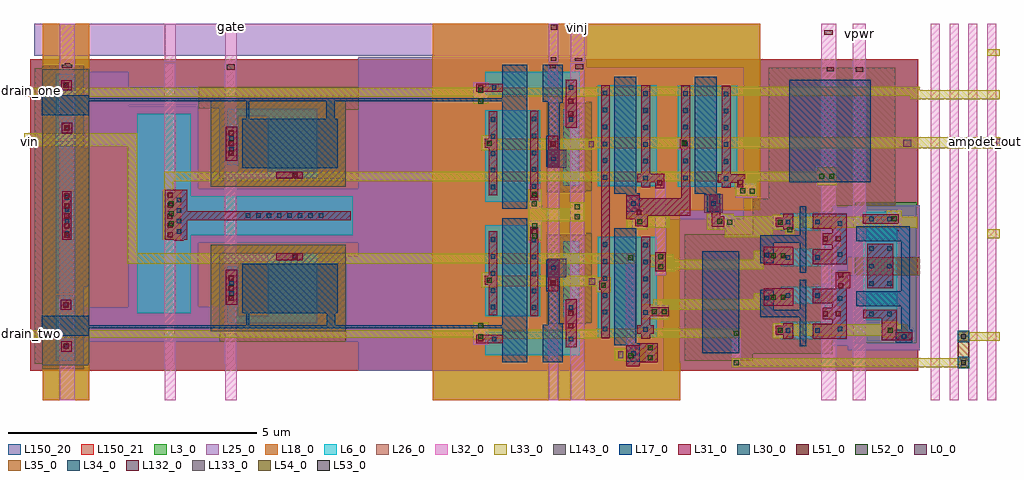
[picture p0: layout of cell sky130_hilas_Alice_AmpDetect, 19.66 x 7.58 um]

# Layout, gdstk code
import gdstk
lib = gdstk.Library(unit=1e-6, precision=1e-09)
def R(c, l, rs):  # rectangles x0, y0, x1, y1
    for r in rs: c.add(gdstk.rectangle(r[:2], r[2:], *l))
def A(c, l, x, y, w, h, nx, ny, dx, dy):  # array of equal rectangles
    R(c, l, [(x+i*dx, y+j*dy, x+i*dx+w, y+j*dy+h) for i in range(nx) for j in range(ny)])
L0_0 = (0, 0)
L3_0 = (3, 0)
L6_0 = (6, 0)
L17_0 = (17, 0)
L18_0 = (18, 0)
L25_0 = (25, 0)
L26_0 = (26, 0)
L30_0 = (30, 0)
L31_0 = (31, 0)
L32_0 = (32, 0)
L33_0 = (33, 0)
L34_0 = (34, 0)
L35_0 = (35, 0)
L51_0 = (51, 0)
L52_0 = (52, 0)
L53_0 = (53, 0)
L54_0 = (54, 0)
L132_0 = (132, 0)
L133_0 = (133, 0)
L143_0 = (143, 0)
L150_20 = (150, 20)
L150_21 = (150, 21)

m1_po_cdns_676223594169 = lib.new_cell('M1_PO_CDNS_676223594169')
R(m1_po_cdns_676223594169, L17_0, [(-0.085,-0.085,0.085,0.085)])
R(m1_po_cdns_676223594169, L30_0, [(-0.045,-0.045,0.045,0.045)])
R(m1_po_cdns_676223594169, L31_0, [(-0.085,-0.085,0.085,0.085)])

sky130_hilas_poly2li = lib.new_cell('sky130_hilas_poly2li')
R(sky130_hilas_poly2li, L0_0, [(-0.14,-0.16,0.23,0.21)])
R(sky130_hilas_poly2li, L17_0, [(-0.09,-0.14,0.18,0.19)])
R(sky130_hilas_poly2li, L31_0, [(-0.04,-0.14,0.13,0.19)])
sky130_hilas_poly2li.add(gdstk.Reference(m1_po_cdns_676223594169, (0.045,0.025)))

m2_m1_cdns_6762235941610 = lib.new_cell('M2_M1_CDNS_6762235941610')
R(m2_m1_cdns_6762235941610, L31_0, [(-0.09,-0.09,0.09,0.09)])
R(m2_m1_cdns_6762235941610, L32_0, [(-0.115,-0.115,0.115,0.115)])
R(m2_m1_cdns_6762235941610, L51_0, [(-0.05,-0.05,0.05,0.05)])

m3_m2_cdns_6762235941611 = lib.new_cell('M3_M2_CDNS_6762235941611')
R(m3_m2_cdns_6762235941611, L32_0, [(-0.115,-0.115,0.115,0.115)])
R(m3_m2_cdns_6762235941611, L33_0, [(-0.09,-0.09,0.09,0.09)])
R(m3_m2_cdns_6762235941611, L52_0, [(-0.05,-0.05,0.05,0.05)])

sky130_hilas_li2m2 = lib.new_cell('sky130_hilas_li2m2')
R(sky130_hilas_li2m2, L32_0, [(-0.11,-0.125,0.19,0.175)])
R(sky130_hilas_li2m2, L33_0, [(-0.11,-0.125,0.19,0.175)])
sky130_hilas_li2m2.add(gdstk.Reference(m2_m1_cdns_6762235941610, (0.04,0.02)))
sky130_hilas_li2m2.add(gdstk.Reference(m3_m2_cdns_6762235941611, (0.04,0.02)))

sky130_hilas_ptransistor = lib.new_cell('sky130_hilas_pTransistorVert01')
R(sky130_hilas_ptransistor, L3_0, [(-3.765,-4.44,-1.63,-1.45)])
R(sky130_hilas_ptransistor, L6_0, [(-3.29,-3.96,-2.1,-1.93), (-3.245,-3.925,-2.165,-1.975)])
R(sky130_hilas_ptransistor, L17_0, [(-2.95,-4.11,-2.51,-1.75)])
R(sky130_hilas_ptransistor, L25_0, [(-3.42,-4.62,-1.97,-1.57)])
A(sky130_hilas_ptransistor, L30_0, -2.37, -3.84, 0.09, 0.09, 1, 6, 0, 0.34)
A(sky130_hilas_ptransistor, L30_0, -3.18, -3.83, 0.09, 0.09, 1, 6, 0, 0.34)
R(sky130_hilas_ptransistor, L31_0, [(-2.41,-3.98,-2.23,-1.93), (-3.22,-3.97,-3.04,-1.92), (-2.49,-3.88,-2.16,-3.71), (-2.41,-3.71,-2.24,-1.93)])

m3_m2_cdns_676223594167 = lib.new_cell('M3_M2_CDNS_676223594167')
R(m3_m2_cdns_676223594167, L32_0, [(-0.035,-0.075,0.175,0.195)])
R(m3_m2_cdns_676223594167, L33_0, [(-0.065,-0.045,0.205,0.165)])
R(m3_m2_cdns_676223594167, L52_0, [(0.02,0.01,0.12,0.11)])

m2_m1_cdns_676223594163 = lib.new_cell('M2_M1_CDNS_676223594163')
R(m2_m1_cdns_676223594163, L31_0, [(-0.09,-0.09,0.09,0.09)])
R(m2_m1_cdns_676223594163, L32_0, [(-0.09,-0.09,0.09,0.09)])
R(m2_m1_cdns_676223594163, L51_0, [(-0.05,-0.05,0.05,0.05)])

m2_m1_cdns_676223594168 = lib.new_cell('M2_M1_CDNS_676223594168')
R(m2_m1_cdns_676223594168, L31_0, [(-0.045,-0.025,0.075,0.155)])
R(m2_m1_cdns_676223594168, L32_0, [(-0.065,-0.045,0.095,0.175)])
R(m2_m1_cdns_676223594168, L51_0, [(-0.035,0.015,0.065,0.115)])

c_sky130_hilas_ptransistor = lib.new_cell('sky130_hilas_pTransistorSingle')
R(c_sky130_hilas_ptransistor, L17_0, [(2.25,-1.04,2.48,-1), (2.48,-1.04,2.52,-1)])
R(c_sky130_hilas_ptransistor, L18_0, [(1.195,-1.34,3.33,1.65)])
R(c_sky130_hilas_ptransistor, L31_0, [(2.35,-1.665,2.405,-1.46), (2.405,-1.485,2.585,-1.46), (2.35,-1.46,2.52,-1.33), (2.47,-1.33,2.52,-1.2), (2.79,-0.78,2.87,-0.7), (2.79,-0.7,3.01,-0.61), (3.01,-0.7,3.02,-0.67), (3.01,-0.67,3.02,-0.61)])
R(c_sky130_hilas_ptransistor, L32_0, [(2.83,-1.09,3.04,-0.88), (3.04,-1.09,3.075,-1.075), (1.675,-0.115,1.92,0.105)])
R(c_sky130_hilas_ptransistor, L33_0, [(2.25,-1.73,2.35,-1.7), (2.65,-1.73,2.68,-1.7), (2.25,-1.7,2.68,-1.69), (2.25,-1.69,3.12,-1.46), (2.25,-1.46,2.35,-1.43), (3.06,-1.045,3.2,-0.855), (3.105,-0.855,3.2,-0.835)])
c_sky130_hilas_ptransistor.add(gdstk.Reference(sky130_hilas_poly2li, (2.34,-1.23)))
c_sky130_hilas_ptransistor.add(gdstk.Reference(sky130_hilas_li2m2, (2.475,-1.58)))
c_sky130_hilas_ptransistor.add(gdstk.Reference(sky130_hilas_ptransistor, (4.96,3.1)))
c_sky130_hilas_ptransistor.add(gdstk.Reference(m3_m2_cdns_676223594167, (2.9,-1)))
c_sky130_hilas_ptransistor.add(gdstk.Reference(m2_m1_cdns_676223594163, (1.8,0)))
c_sky130_hilas_ptransistor.add(gdstk.Reference(m2_m1_cdns_676223594168, (2.91,-0.85)))

sky130_hilas_nfet03 = lib.new_cell('sky130_hilas_nFET03')
R(sky130_hilas_nfet03, L6_0, [(-0.31,-0.06,0.58,0.29), (0.1,0,0.4,0.2)])
R(sky130_hilas_nfet03, L17_0, [(0.07,-0.2,0.2,0.43), (0.1,0.1,0.2,0.2)])
R(sky130_hilas_nfet03, L26_0, [(-0.44,-0.36,0.725,0.58)])
R(sky130_hilas_nfet03, L30_0, [(-0.205,0.07,-0.115,0.16), (0.385,0.07,0.475,0.16)])
R(sky130_hilas_nfet03, L31_0, [(-0.26,-0.03,-0.06,0.28), (0.33,-0.02,0.53,0.28), (-0.2,0.1,-0.1,0.2), (0.4,0.1,0.5,0.2)])

m2_m1_cdns_6762235941612 = lib.new_cell('M2_M1_CDNS_6762235941612')
R(m2_m1_cdns_6762235941612, L31_0, [(-0.19,-0.09,0.19,0.09)])
R(m2_m1_cdns_6762235941612, L32_0, [(-0.19,-0.09,0.19,0.09)])
R(m2_m1_cdns_6762235941612, L51_0, [(-0.15,-0.05,-0.05,0.05), (0.05,-0.05,0.15,0.05)])

m3_m2_cdns_676223594166 = lib.new_cell('M3_M2_CDNS_676223594166')
R(m3_m2_cdns_676223594166, L32_0, [(-0.19,-0.09,0.19,0.09)])
R(m3_m2_cdns_676223594166, L33_0, [(-0.19,-0.09,0.19,0.09)])
R(m3_m2_cdns_676223594166, L52_0, [(-0.15,-0.05,-0.05,0.05), (0.05,-0.05,0.15,0.05)])

sky130_hilas_nmirror03 = lib.new_cell('sky130_hilas_nMirror03')
R(sky130_hilas_nmirror03, L6_0, [(0.565,0.33,1.605,0.34), (1.6,0.33,1.89,1.36), (1.45,0.34,1.6,1.35), (0.565,1.35,1.605,1.36)])
R(sky130_hilas_nmirror03, L17_0, [(0.945,0.19,1.075,0.21), (0.945,0.33,1.075,0.34), (0.15,0.36,0.42,0.69), (0.15,0.69,0.42,0.77), (0.15,0.77,1.075,0.92), (0.15,0.77,0.895,0.82), (0.945,1.35,1.075,1.36), (0.945,1.48,1.075,1.5)])
R(sky130_hilas_nmirror03, L25_0, [(1.6,0.2,1.91,1.49)])
R(sky130_hilas_nmirror03, L26_0, [(0,0.04,0.435,1.65), (0.435,0.205,1.6,0.465), (1.325,0.465,1.6,0.815), (0.435,0.815,1.6,0.875), (1.325,0.875,1.6,1.225), (0.435,1.225,1.6,1.485)])
R(sky130_hilas_nmirror03, L30_0, [(0.24,0.48,0.33,0.57), (1.715,0.49,1.805,0.58), (1.715,1.11,1.805,1.2)])
R(sky130_hilas_nmirror03, L31_0, [(0.225,0.33,0.815,0.69), (1.4,0.34,1.89,0.64), (0.225,0.36,0.445,0.69), (1.6,0.38,1.89,1.35), (1.41,0.73,1.6,0.96), (1.4,1.05,1.89,1.35)])
R(sky130_hilas_nmirror03, L32_0, [(0.225,0.33,0.815,0.69), (1.39,0.7,1.69,1), (1.39,0.7,1.77,1)])
R(sky130_hilas_nmirror03, L33_0, [(0.225,0.33,0.815,0.69), (0.02,0.435,0.39,0.61)])
R(sky130_hilas_nmirror03, L51_0, [(1.41,0.795,1.51,0.895), (1.67,0.795,1.77,0.895)])
sky130_hilas_nmirror03.add(gdstk.Reference(sky130_hilas_li2m2, (0.51,1.16)))
sky130_hilas_nmirror03.add(gdstk.Reference(sky130_hilas_nfet03, (0.875,0.36)))
sky130_hilas_nmirror03.add(gdstk.Reference(sky130_hilas_nfet03, (0.875,1.07)))
sky130_hilas_nmirror03.add(gdstk.Reference(m2_m1_cdns_6762235941612, (0.51,0.51)))
sky130_hilas_nmirror03.add(gdstk.Reference(m3_m2_cdns_676223594166, (0.51,0.51)))

sky130_hilas_pfetmirror0 = lib.new_cell('sky130_hilas_pFETmirror02')
R(sky130_hilas_pfetmirror0, L3_0, [(0.14,0.14,1.39,2.98)])
R(sky130_hilas_pfetmirror0, L6_0, [(0.32,0.61,1,1.49), (0.32,1.49,1,1.9), (0.32,1.9,1,2.79)])
R(sky130_hilas_pfetmirror0, L17_0, [(0.97,0.15,1.3,0.42), (1.08,0.37,1.25,0.89), (0.18,0.89,1.25,1.19), (1.08,1.19,1.25,2.2), (0.18,2.2,1.25,2.5)])
R(sky130_hilas_pfetmirror0, L25_0, [(0,0,1.45,1.51), (0,1.88,1.45,2.92)])
R(sky130_hilas_pfetmirror0, L26_0, [(0.18,1.51,1.45,1.88)])
R(sky130_hilas_pfetmirror0, L30_0, [(1.09,0.24,1.18,0.33), (0.435,0.69,0.525,0.78), (0.795,0.69,0.885,0.78), (0.435,1.3,0.525,1.39), (0.795,1.3,0.885,1.39), (0.435,1.65,0.525,1.74), (0.795,1.65,0.885,1.74), (0.435,2.005,0.525,2.095), (0.795,2.005,0.885,2.095), (0.435,2.605,0.525,2.695), (0.795,2.605,0.885,2.695)])
R(sky130_hilas_pfetmirror0, L31_0, [(0.69,0.2,0.99,0.37), (0.97,0.2,1.3,0.37), (0.69,0.37,0.99,0.65), (0.32,0.65,0.99,0.82), (0.395,1.25,0.925,2.145), (0.31,2.55,1.015,2.74)])

sky130_hilas_singletacor = lib.new_cell('sky130_hilas_SingleTACore01')
R(sky130_hilas_singletacor, L25_0, [(1.635,0.345,1.71,1.245), (1.22,1.245,1.71,1.46), (1.22,1.245,1.71,1.465), (1.53,1.465,1.71,2.745), (1.22,2.75,1.53,2.91), (1.53,2.78,2.98,2.91)])
R(sky130_hilas_singletacor, L26_0, [(0.055,1.245,1.22,1.465)])
R(sky130_hilas_singletacor, L31_0, [(1.675,1.37,1.96,1.69)])
R(sky130_hilas_singletacor, L32_0, [(1.38,0,1.68,5.72), (2.01,0.01,2.28,5.72), (1.655,1.37,1.885,1.69)])
R(sky130_hilas_singletacor, L33_0, [(0.4,0.42,3.11,0.65), (0.4,2.59,3.31,2.81)])
R(sky130_hilas_singletacor, L51_0, [(1.72,1.37,1.82,1.47), (1.72,1.59,1.82,1.69)])
sky130_hilas_singletacor.add(gdstk.Reference(sky130_hilas_li2m2, (2.73,0.51)))
sky130_hilas_singletacor.add(gdstk.Reference(sky130_hilas_li2m2, (2.81,2.755)))
sky130_hilas_singletacor.add(gdstk.Reference(sky130_hilas_nmirror03, (0,1.52)))
sky130_hilas_singletacor.add(gdstk.Reference(sky130_hilas_nmirror03, (0,1.705), x_reflection=True))
sky130_hilas_singletacor.add(gdstk.Reference(sky130_hilas_pfetmirror0, (1.91,0.12)))

m3_m2_cdns_6762235941613 = lib.new_cell('M3_M2_CDNS_6762235941613')
R(m3_m2_cdns_6762235941613, L32_0, [(-0.09,-0.19,0.09,0.19)])
R(m3_m2_cdns_6762235941613, L33_0, [(-0.09,-0.19,0.09,0.19)])
R(m3_m2_cdns_6762235941613, L52_0, [(-0.05,-0.15,0.05,-0.05), (-0.05,0.05,0.05,0.15)])

m2_m1_cdns_676223594164 = lib.new_cell('M2_M1_CDNS_676223594164')
R(m2_m1_cdns_676223594164, L31_0, [(-0.09,-0.19,0.09,0.19)])
R(m2_m1_cdns_676223594164, L32_0, [(-0.09,-0.19,0.09,0.19)])
R(m2_m1_cdns_676223594164, L51_0, [(-0.05,-0.15,0.05,-0.05), (-0.05,0.05,0.05,0.15)])

c_sky130_hilas_ptransistor_ = lib.new_cell('sky130_hilas_pTransistorPair_v2')
R(c_sky130_hilas_ptransistor_, L3_0, [(1.475,2.88,1.925,3.11), (0,3.17,2.135,3.24)])
R(c_sky130_hilas_ptransistor_, L17_0, [(1.055,0.175,1.325,0.545), (1.075,0.5,1.285,0.51), (1.055,3.2,1.325,3.57)])
R(c_sky130_hilas_ptransistor_, L18_0, [(0,0.18,2.135,6.22)])
R(c_sky130_hilas_ptransistor_, L30_0, [(1.15,0.295,1.24,0.385), (1.15,3.32,1.24,3.41)])
R(c_sky130_hilas_ptransistor_, L31_0, [(1.055,0.085,1.325,0.215), (1.325,0.165,1.685,0.505), (1.055,0.175,1.325,0.505), (1.295,0.26,1.46,0.435), (1.325,0.505,1.685,0.545), (1.355,1.09,1.635,1.265), (1.635,2,1.845,2.38), (0.545,2.65,0.725,3.71), (1.055,3.045,1.325,3.24), (1.055,3.2,1.325,3.53), (1.635,3.67,1.815,3.9), (1.595,3.79,1.675,3.87), (1.595,3.87,1.815,3.96)])
R(c_sky130_hilas_ptransistor_, L32_0, [(1.525,1.045,1.905,1.31), (1.635,1.92,1.845,3.69), (1.635,2.03,1.845,2.35), (1.635,3.64,1.845,3.93)])
R(c_sky130_hilas_ptransistor_, L33_0, [(1.625,0.165,1.685,0.2), (0.815,0.2,1.685,0.44), (1.355,1.03,1.905,1.33), (1.635,2,1.845,2.38), (1.535,2.08,2.005,2.33), (1.635,2.08,1.87,2.33), (1.055,2.88,1.925,3.11)])
R(c_sky130_hilas_ptransistor_, L51_0, [(1.68,3.735,1.78,3.835)])
c_sky130_hilas_ptransistor_.add(gdstk.Reference(sky130_hilas_li2m2, (0.555,1.7)))
c_sky130_hilas_ptransistor_.add(gdstk.Reference(sky130_hilas_li2m2, (1.285,2.975)))
c_sky130_hilas_ptransistor_.add(gdstk.Reference(sky130_hilas_ptransistor, (3.765,7.67)))
c_sky130_hilas_ptransistor_.add(gdstk.Reference(sky130_hilas_ptransistor, (3.765,4.62)))
c_sky130_hilas_ptransistor_.add(gdstk.Reference(m3_m2_cdns_6762235941613, (1.535,0.355)))
c_sky130_hilas_ptransistor_.add(gdstk.Reference(m3_m2_cdns_6762235941613, (1.75,2.19)))
c_sky130_hilas_ptransistor_.add(gdstk.Reference(m2_m1_cdns_676223594164, (1.535,0.355)))
c_sky130_hilas_ptransistor_.add(gdstk.Reference(m2_m1_cdns_676223594164, (1.75,2.19)))
c_sky130_hilas_ptransistor_.add(gdstk.Reference(m2_m1_cdns_6762235941612, (1.715,1.18)))
c_sky130_hilas_ptransistor_.add(gdstk.Reference(m3_m2_cdns_676223594166, (1.715,1.18)))

sky130_hilas_tuncap01 = lib.new_cell('sky130_hilas_TunCap01')
R(sky130_hilas_tuncap01, L3_0, [(0,0,0.94,1.645)])
R(sky130_hilas_tuncap01, L6_0, [(0.27,0.16,0.67,1.485)])
R(sky130_hilas_tuncap01, L18_0, [(0,0,0.94,1.645)])
R(sky130_hilas_tuncap01, L26_0, [(0,0,0.835,1.645)])

m1_od_cdns_6762235941620 = lib.new_cell('M1_OD_CDNS_6762235941620')
R(m1_od_cdns_6762235941620, L6_0, [(-0.075,-0.18,0.075,0.18)])
R(m1_od_cdns_6762235941620, L30_0, [(-0.045,-0.15,0.045,-0.06), (-0.045,0.06,0.045,0.15)])
R(m1_od_cdns_6762235941620, L31_0, [(-0.085,-0.19,0.085,0.19)])

m2_m1_cdns_6762235941621 = lib.new_cell('M2_M1_CDNS_6762235941621')
R(m2_m1_cdns_6762235941621, L31_0, [(-0.09,-0.29,0.09,0.29)])
R(m2_m1_cdns_6762235941621, L32_0, [(-0.09,-0.29,0.09,0.29)])
A(m2_m1_cdns_6762235941621, L51_0, -0.05, -0.25, 0.1, 0.1, 1, 3, 0, 0.2)

sky130_hilas_fgvaractorc = lib.new_cell('sky130_hilas_FGVaractorCapacitor02')
R(sky130_hilas_fgvaractorc, L3_0, [(0,0,2.72,1.735)])
R(sky130_hilas_fgvaractorc, L6_0, [(1.15,0.18,2.15,1.425), (0.33,0.43,0.55,1.425), (0.33,1.425,2.15,1.575)])
R(sky130_hilas_fgvaractorc, L17_0, [(0.64,0.375,2.56,1.375)])
R(sky130_hilas_fgvaractorc, L18_0, [(0,0,2.72,1.735)])
R(sky130_hilas_fgvaractorc, L26_0, [(0.17,0.16,2.72,1.695)])
R(sky130_hilas_fgvaractorc, L30_0, [(1.65,0.195,1.74,0.285)])
R(sky130_hilas_fgvaractorc, L31_0, [(1.32,0.17,1.85,0.305), (0.3,0.52,0.53,1.21)])
R(sky130_hilas_fgvaractorc, L32_0, [(0.28,0.17,0.54,0.49), (0.285,0.17,1.85,0.305), (0.28,0.47,0.54,1.26)])
R(sky130_hilas_fgvaractorc, L51_0, [(1.645,0.19,1.745,0.29)])
R(sky130_hilas_fgvaractorc, L143_0, [(0,0,2.72,1.735)])
sky130_hilas_fgvaractorc.add(gdstk.Reference(m1_od_cdns_6762235941620, (0.42,0.87)))
sky130_hilas_fgvaractorc.add(gdstk.Reference(m2_m1_cdns_6762235941621, (0.41,0.875)))

sky130_hilas_horiztransc = lib.new_cell('sky130_hilas_horizTransCell01')
R(sky130_hilas_horiztransc, L0_0, [(3.815,1.86,4.185,2.23)])
R(sky130_hilas_horiztransc, L3_0, [(1.485,-0.02,4.785,3.24)])
R(sky130_hilas_horiztransc, L6_0, [(2.555,0.29,4.455,0.76), (4.12,1.05,4.45,2.585), (2.555,1.07,3.665,2.91)])
R(sky130_hilas_horiztransc, L17_0, [(2.895,0.15,3.395,0.88), (3.715,0.15,4.115,0.9), (0.355,0.83,3.395,0.89), (2.895,0.855,3.395,3.05), (3.825,0.9,4.115,0.92), (3.825,0.92,4.055,1.58), (3.785,1.58,4.055,1.87), (3.785,1.87,4.055,2.21)])
R(sky130_hilas_horiztransc, L25_0, [(0,0,4.585,0.92), (0,0.92,3.795,3.2)])
R(sky130_hilas_horiztransc, L26_0, [(3.795,0.92,4.58,2.715)])
A(sky130_hilas_horiztransc, L30_0, 3.495, 1.2, 0.09, 0.09, 1, 5, 0, 0.34)
A(sky130_hilas_horiztransc, L30_0, 2.665, 1.21, 0.09, 0.09, 1, 5, 0, 0.34)
R(sky130_hilas_horiztransc, L30_0, [(2.69,0.57,2.78,0.66), (4.24,0.57,4.33,0.66), (4.24,1.205,4.33,1.295), (3.885,2,3.975,2.09)])
R(sky130_hilas_horiztransc, L31_0, [(4.175,0.45,4.395,0.8), (2.375,0.53,2.905,0.7), (4.175,0.8,4.395,0.83), (4.175,0.83,4.395,1.41), (3.455,1.08,3.625,2.69), (2.625,1.09,2.795,2.78), (4.175,1.41,4.395,1.42), (3.825,1.58,4.025,1.59), (3.825,1.59,4.025,1.88), (3.815,1.88,4.055,2.21), (3.455,2.69,3.625,2.88)])
R(sky130_hilas_horiztransc, L32_0, [(3.825,0.13,4.015,1.58), (4.265,0.13,4.435,0.77), (2.315,0.5,2.615,0.94), (4.155,0.77,4.435,1.32), (4.155,1.32,4.435,1.37), (4.265,1.37,4.435,1.46), (4.265,1.46,4.435,3.15), (3.825,1.58,4.055,1.61), (3.805,1.61,4.055,1.88), (3.815,1.88,4.055,1.89), (3.815,1.89,4.045,2.13), (3.815,2.13,4.045,3.15), (3.425,2.56,3.665,2.94)])
R(sky130_hilas_horiztransc, L33_0, [(2.315,0.61,2.615,0.62), (2.315,0.62,4.785,0.8), (2.315,0.8,2.615,0.94)])
R(sky130_hilas_horiztransc, L51_0, [(2.415,0.565,2.515,0.665), (4.23,0.835,4.33,0.935), (4.23,1.085,4.33,1.185), (3.875,1.695,3.975,1.795), (3.495,2.735,3.595,2.835)])
R(sky130_hilas_horiztransc, L52_0, [(2.415,0.615,2.515,0.715), (2.415,0.835,2.515,0.935)])

m1_od_cdns_6762235941614 = lib.new_cell('M1_OD_CDNS_6762235941614')
R(m1_od_cdns_6762235941614, L6_0, [(-0.81,-0.075,0.81,0.075)])
A(m1_od_cdns_6762235941614, L30_0, -0.78, -0.045, 0.09, 0.09, 8, 1, 0.21, 0)
R(m1_od_cdns_6762235941614, L31_0, [(-0.82,-0.085,0.82,0.085)])

m1_od_cdns_6762235941615 = lib.new_cell('M1_OD_CDNS_6762235941615')
R(m1_od_cdns_6762235941615, L6_0, [(-0.075,-0.39,0.075,0.39)])
A(m1_od_cdns_6762235941615, L30_0, -0.045, -0.36, 0.09, 0.09, 1, 4, 0, 0.21)
R(m1_od_cdns_6762235941615, L31_0, [(-0.085,-0.4,0.085,0.4)])

m2_m1_cdns_6762235941616 = lib.new_cell('M2_M1_CDNS_6762235941616')
R(m2_m1_cdns_6762235941616, L31_0, [(-0.105,-0.105,0.105,0.105)])
R(m2_m1_cdns_6762235941616, L32_0, [(-0.09,-0.09,0.09,0.09)])
R(m2_m1_cdns_6762235941616, L51_0, [(-0.05,-0.05,0.05,0.05)])

m1_od_cdns_6762235941617 = lib.new_cell('M1_OD_CDNS_6762235941617')
R(m1_od_cdns_6762235941617, L6_0, [(-0.075,-0.075,0.075,0.075)])
R(m1_od_cdns_6762235941617, L30_0, [(-0.045,-0.045,0.045,0.045)])
R(m1_od_cdns_6762235941617, L31_0, [(-0.105,-0.105,0.105,0.105)])

m2_m1_cdns_6762235941618 = lib.new_cell('M2_M1_CDNS_6762235941618')
R(m2_m1_cdns_6762235941618, L31_0, [(-0.09,-0.49,0.09,0.49)])
R(m2_m1_cdns_6762235941618, L32_0, [(-0.09,-0.49,0.09,0.49)])
A(m2_m1_cdns_6762235941618, L51_0, -0.05, -0.45, 0.1, 0.1, 1, 5, 0, 0.2)

m1_od_cdns_6762235941619 = lib.new_cell('M1_OD_CDNS_6762235941619')
R(m1_od_cdns_6762235941619, L6_0, [(-0.075,-0.45,0.075,0.45)])
A(m1_od_cdns_6762235941619, L30_0, -0.045, -0.405, 0.09, 0.09, 1, 4, 0, 0.24)
R(m1_od_cdns_6762235941619, L31_0, [(-0.09,-0.49,0.09,0.49)])

sky130_hilas_fgbias2x1ce = lib.new_cell('sky130_hilas_FGBias2x1cell_v2')
R(sky130_hilas_fgbias2x1ce, L3_0, [(0.365,1.68,1.305,4.49)])
R(sky130_hilas_fgbias2x1ce, L6_0, [(9.33,1.135,10.33,2.89), (2.28,1.15,3.36,2.99), (0.635,1.555,1.035,4.62), (2.28,2.725,6.62,3.51), (2.28,3.24,3.36,5.17)])
R(sky130_hilas_fgbias2x1ce, L17_0, [(0.355,0.7,1.305,1.1), (1.305,0.85,7.09,0.91), (4.48,0.91,4.54,1.385), (6.1,0.91,6.27,1.385), (4.48,4.845,4.54,5.42), (6.085,4.845,6.255,5.42), (0.355,5.145,1.305,5.545), (1.305,5.42,7.09,5.48)])
R(sky130_hilas_fgbias2x1ce, L18_0, [(8.22,0,11.52,6.33), (0.365,1.68,1.305,4.495)])
R(sky130_hilas_fgbias2x1ce, L25_0, [(2.095,1,3.51,2.575), (2.095,2.575,6.77,3.66), (9.165,3.055,10.525,3.275), (2.095,3.66,3.51,5.32)])
R(sky130_hilas_fgbias2x1ce, L26_0, [(0.365,1.685,1.305,4.49)])
R(sky130_hilas_fgbias2x1ce, L31_0, [(4.06,1.99,4.29,2.03), (3.03,2.61,3.22,3.03), (2.84,2.99,3.03,3.22), (3.03,3.03,6.58,3.21), (3.03,3.21,3.22,3.62)])
R(sky130_hilas_fgbias2x1ce, L32_0, [(0.71,0.14,1.01,6.19), (2.82,0.14,3.05,6.19), (4.04,0.14,4.27,6.19), (11,0.14,11.28,6.19), (10.15,2.7,10.43,3.02), (2.82,2.96,3.05,3.25), (11,3.02,11.28,3.34), (10.15,3.3,10.43,3.62)])
R(sky130_hilas_fgbias2x1ce, L33_0, [(0,0.66,9.09,0.76), (0,0.76,9.21,0.81), (9.05,0.81,9.21,0.83), (9.48,1.7,11.52,1.91), (10.15,2.625,10.43,2.73), (10.15,2.73,10.43,3.01), (10.15,3.01,11,3.265), (11,3.01,11.28,3.39), (11,3.05,11.28,3.33), (10.15,3.265,10.43,3.655), (10.15,3.33,10.43,3.61), (9.49,4.45,11.52,4.67), (0,5.51,9.11,5.69)])
R(sky130_hilas_fgbias2x1ce, L51_0, [(2.885,3.055,2.985,3.155)])
R(sky130_hilas_fgbias2x1ce, L132_0, [(4.08,6.06,4.245,6.16), (11.1,6.07,11.26,6.17), (10.59,6.09,10.705,6.16), (0.76,6.095,0.975,6.16)])
R(sky130_hilas_fgbias2x1ce, L133_0, [(0.01,0.675,0.095,0.79), (11.37,1.73,11.5,1.86), (11.375,4.495,11.475,4.62), (0.025,5.535,0.135,5.665)])
R(sky130_hilas_fgbias2x1ce, L143_0, [(0.365,0.11,1.305,6.065)])
sky130_hilas_fgbias2x1ce.add(gdstk.Reference(sky130_hilas_tuncap01, (0.365,4.495)))
sky130_hilas_fgbias2x1ce.add(gdstk.Reference(sky130_hilas_tuncap01, (0.365,1.68), x_reflection=True))
sky130_hilas_fgbias2x1ce.add(gdstk.Reference(sky130_hilas_fgvaractorc, (3.76,2.53), x_reflection=True))
sky130_hilas_fgbias2x1ce.add(gdstk.Reference(sky130_hilas_fgvaractorc, (3.76,3.7)))
sky130_hilas_fgbias2x1ce.add(gdstk.Reference(sky130_hilas_horiztransc, (6.735,6.31), x_reflection=True))
sky130_hilas_fgbias2x1ce.add(gdstk.Reference(sky130_hilas_horiztransc, (6.735,0.02)))
sky130_hilas_fgbias2x1ce.add(gdstk.Reference(sky130_hilas_li2m2, (9.33,1.8)))
sky130_hilas_fgbias2x1ce.add(gdstk.Reference(sky130_hilas_li2m2, (9.33,4.56)))
sky130_hilas_fgbias2x1ce.add(gdstk.Reference(m1_od_cdns_6762235941614, (5.245,3.12)))
sky130_hilas_fgbias2x1ce.add(gdstk.Reference(m1_od_cdns_6762235941615, (3.125,3.115)))
sky130_hilas_fgbias2x1ce.add(gdstk.Reference(m3_m2_cdns_6762235941613, (10.275,3.455)))
sky130_hilas_fgbias2x1ce.add(gdstk.Reference(m3_m2_cdns_6762235941613, (10.285,2.815)))
sky130_hilas_fgbias2x1ce.add(gdstk.Reference(m3_m2_cdns_6762235941613, (11.145,3.2)))
sky130_hilas_fgbias2x1ce.add(gdstk.Reference(m2_m1_cdns_6762235941616, (0.855,5.745)))
sky130_hilas_fgbias2x1ce.add(gdstk.Reference(m2_m1_cdns_6762235941616, (0.855,0.485)))
sky130_hilas_fgbias2x1ce.add(gdstk.Reference(m2_m1_cdns_6762235941616, (0.845,1.325)))
sky130_hilas_fgbias2x1ce.add(gdstk.Reference(m2_m1_cdns_6762235941616, (0.865,4.885)))
sky130_hilas_fgbias2x1ce.add(gdstk.Reference(m1_od_cdns_6762235941617, (0.855,5.745)))
sky130_hilas_fgbias2x1ce.add(gdstk.Reference(m1_od_cdns_6762235941617, (0.855,0.485)))
sky130_hilas_fgbias2x1ce.add(gdstk.Reference(m1_od_cdns_6762235941617, (0.845,1.325)))
sky130_hilas_fgbias2x1ce.add(gdstk.Reference(m1_od_cdns_6762235941617, (0.865,4.885)))
sky130_hilas_fgbias2x1ce.add(gdstk.Reference(m2_m1_cdns_6762235941618, (0.865,3.12)))
sky130_hilas_fgbias2x1ce.add(gdstk.Reference(m1_od_cdns_6762235941619, (0.865,3.12)))
sky130_hilas_fgbias2x1ce.add(gdstk.Label('DRAINONE', (0.085,5.625), layer=133, texttype=0))
sky130_hilas_fgbias2x1ce.add(gdstk.Label('DRAINTWO', (0.07,0.77), layer=133, texttype=0))
sky130_hilas_fgbias2x1ce.add(gdstk.Label('Output', (11.455,1.795), layer=133, texttype=0))
sky130_hilas_fgbias2x1ce.add(gdstk.Label('OutputTwo', (11.44,4.565), layer=133, texttype=0))
sky130_hilas_fgbias2x1ce.add(gdstk.Label('GATE1', (4.15,6.125), layer=132, texttype=0))
sky130_hilas_fgbias2x1ce.add(gdstk.Label('VTUN', (0.87,6.135), layer=132, texttype=0))
sky130_hilas_fgbias2x1ce.add(gdstk.Label('VINJ', (11.185,6.13), layer=132, texttype=0))
sky130_hilas_fgbias2x1ce.add(gdstk.Label('COLSELONE', (10.625,6.115), layer=132, texttype=0))

m3_m2_cdns_676223594165 = lib.new_cell('M3_M2_CDNS_676223594165')
R(m3_m2_cdns_676223594165, L32_0, [(-0.09,-0.29,0.09,0.29)])
R(m3_m2_cdns_676223594165, L33_0, [(-0.09,-0.29,0.09,0.29)])
A(m3_m2_cdns_676223594165, L52_0, -0.05, -0.25, 0.1, 0.1, 1, 3, 0, 0.2)

m3_m2_cdns_676223594160 = lib.new_cell('M3_M2_CDNS_676223594160')
R(m3_m2_cdns_676223594160, L32_0, [(-0.09,-0.09,0.09,0.09)])
R(m3_m2_cdns_676223594160, L33_0, [(-0.09,-0.09,0.09,0.09)])
R(m3_m2_cdns_676223594160, L52_0, [(-0.05,-0.05,0.05,0.05)])

sky130_hilas_ampdetect01 = lib.new_cell('sky130_hilas_AmpDetect01')
R(sky130_hilas_ampdetect01, L17_0, [(13.655,0.35,14.405,2.4), (15.415,3.79,17.055,5.86)])
R(sky130_hilas_ampdetect01, L25_0, [(6.745,-0.005,11.43,0.045), (11.33,0.045,11.43,0.965), (1.21,0.575,2.105,0.875), (2.105,0.575,3.52,0.63), (3.52,0.575,3.94,1.28), (6.49,0.575,6.745,2.305), (2.105,0.63,3.52,1.025), (1.21,0.875,2.105,0.935), (1.21,0.935,2.105,1.275), (12.88,3.045,13.04,6.095), (1.21,4.515,2.105,6.015), (2.105,5.345,3.52,5.7), (11.33,5.415,11.43,6.095)])
R(sky130_hilas_ampdetect01, L26_0, [(0.215,0.135,0.375,6.09), (13.305,0.2,14.675,2.74), (3.94,0.575,6.48,0.975), (11.325,0.965,11.43,2.76), (14.995,3.315,17.55,6.1), (11.325,3.62,11.43,5.415), (6.48,5.255,6.745,5.7), (3.52,5.285,3.94,5.7), (3.94,5.305,6.48,5.7)])
R(sky130_hilas_ampdetect01, L31_0, [(2.83,2.635,3.29,3.645), (12.475,2.9,12.56,3.035), (12.475,3.035,12.56,3.115), (12.41,3.07,12.475,3.08), (12.41,3.08,12.475,3.115), (12.36,3.115,13.42,3.465), (13.24,3.465,13.42,3.695)])
R(sky130_hilas_ampdetect01, L32_0, [(14.255,0.07,14.435,0.845), (2.79,2.635,3.17,3.645), (15.34,2.7,15.515,2.745), (15.335,2.925,15.515,3), (12.24,3.135,12.295,3.28), (12.475,3.135,12.54,3.28), (10.16,3.29,10.195,3.325), (10.375,3.29,10.44,3.325), (14.575,3.475,14.76,3.52), (14.575,3.52,14.58,3.7), (14.575,3.7,14.76,3.76), (15.95,3.715,16,3.725), (16,3.715,16.34,3.725), (15.95,3.725,16.38,4.115), (13.175,4.67,13.21,4.675), (13.39,4.67,13.42,4.675), (16.055,5.995,16.355,6.125), (16.685,6,16.955,6.125), (4.05,6.075,4.28,6.215), (0.72,6.11,1.02,6.215), (10.57,6.205,10.76,6.345), (11.01,6.215,11.29,6.315)])
R(sky130_hilas_ampdetect01, L33_0, [(14.255,0.07,18.04,0.25), (11.53,0.665,14.435,0.845), (0,0.685,0.08,0.835), (12.67,1.225,14.73,1.435), (14.73,1.225,14.9,1.435), (12.93,1.995,13.09,2.035), (12.93,2.035,12.96,2.075), (12.96,2.035,14.9,2.235), (2.8,2.645,3.15,3.635), (14.11,2.685,15.08,3.105), (13.75,3.135,13.845,3.145), (2.82,3.635,3.01,3.815), (14.31,3.675,14.7,3.815), (14.7,3.7,14.76,3.815), (15.97,3.735,16.37,3.815), (2.82,3.815,16.37,4.005), (15.97,4.005,16.37,4.095), (11.45,4.475,17.92,4.695), (0,5.535,0.1,5.715), (11.53,5.535,17.935,5.715)])
R(sky130_hilas_ampdetect01, L132_0, [(16.755,6.02,16.905,6.105), (16.165,6.025,16.305,6.105), (4.115,6.115,4.23,6.17), (0.82,6.135,0.93,6.19), (10.605,6.235,10.72,6.31), (11.095,6.24,11.24,6.29)])
R(sky130_hilas_ampdetect01, L133_0, [(11.965,0.245,12.07,0.39), (0.285,0.72,0.335,0.8), (17.71,4.505,17.87,4.645), (0.305,5.565,0.365,5.665)])
R(sky130_hilas_ampdetect01, L143_0, [(0.375,0.155,1.315,6.07)])
R(sky130_hilas_ampdetect01, L150_20, [(0.125,0,18.01,6.27)])
R(sky130_hilas_ampdetect01, L150_21, [(0.125,0,18.01,6.27)])
sky130_hilas_ampdetect01.add(gdstk.Reference(c_sky130_hilas_ptransistor, (11.5,4.565)))
sky130_hilas_ampdetect01.add(gdstk.Reference(sky130_hilas_singletacor, (14.675,0.285)))
sky130_hilas_ampdetect01.add(gdstk.Reference(c_sky130_hilas_ptransistor_, (11.075,0)))
sky130_hilas_ampdetect01.add(gdstk.Reference(sky130_hilas_fgbias2x1ce, (0,0)))
sky130_hilas_ampdetect01.add(gdstk.Reference(m2_m1_cdns_676223594163, (12.385,3.19)))
sky130_hilas_ampdetect01.add(gdstk.Reference(m2_m1_cdns_676223594164, (2.945,3.43)))
sky130_hilas_ampdetect01.add(gdstk.Reference(m2_m1_cdns_676223594164, (2.945,2.83)))
sky130_hilas_ampdetect01.add(gdstk.Reference(m3_m2_cdns_676223594165, (2.97,3.155)))
sky130_hilas_ampdetect01.add(gdstk.Reference(m3_m2_cdns_676223594166, (16.17,3.915)))
sky130_hilas_ampdetect01.add(gdstk.Reference(m3_m2_cdns_676223594160, (14.67,3.61)))
sky130_hilas_ampdetect01.add(gdstk.Reference(m3_m2_cdns_676223594160, (14.215,2.985)))
sky130_hilas_ampdetect01.add(gdstk.Reference(m3_m2_cdns_676223594160, (15.425,2.835)))
sky130_hilas_ampdetect01.add(gdstk.Reference(m3_m2_cdns_676223594160, (14.345,0.755)))
sky130_hilas_ampdetect01.add(gdstk.Reference(m3_m2_cdns_676223594160, (14.345,0.16)))
sky130_hilas_ampdetect01.add(gdstk.Reference(m3_m2_cdns_676223594160, (13.3,4.585)))
sky130_hilas_ampdetect01.add(gdstk.Label('VTUN', (0.875,6.165), layer=132, texttype=0))
sky130_hilas_ampdetect01.add(gdstk.Label('GATE1', (4.17,6.14), layer=132, texttype=0))
sky130_hilas_ampdetect01.add(gdstk.Label('COLSELONE', (10.64,6.275), layer=132, texttype=0))
sky130_hilas_ampdetect01.add(gdstk.Label('VINJ', (11.175,6.265), layer=132, texttype=0))
sky130_hilas_ampdetect01.add(gdstk.Label('VGND', (16.225,6.075), layer=132, texttype=0))
sky130_hilas_ampdetect01.add(gdstk.Label('VPWR', (16.825,6.075), layer=132, texttype=0))
sky130_hilas_ampdetect01.add(gdstk.Label('DRAIN1', (17.71,5.625), layer=33, texttype=0))
sky130_hilas_ampdetect01.add(gdstk.Label('DRAIN2', (17.835,0.165), layer=33, texttype=0))
sky130_hilas_ampdetect01.add(gdstk.Label('DRAINTWO', (0.33,0.76), layer=133, texttype=0))
sky130_hilas_ampdetect01.add(gdstk.Label('DRAINONE', (0.33,5.615), layer=133, texttype=0))
sky130_hilas_ampdetect01.add(gdstk.Label('Vin', (12.01,0.33), layer=133, texttype=0))
sky130_hilas_ampdetect01.add(gdstk.Label('Output', (17.79,4.58), layer=133, texttype=0))

m5_m4_cdns_676223594161 = lib.new_cell('M5_M4_CDNS_676223594161')
R(m5_m4_cdns_676223594161, L34_0, [(-0.115,-0.115,0.115,0.115)])
R(m5_m4_cdns_676223594161, L35_0, [(-0.09,-0.09,0.09,0.09)])
R(m5_m4_cdns_676223594161, L54_0, [(-0.05,-0.05,0.05,0.05)])

m4_m3_cdns_676223594162 = lib.new_cell('M4_M3_CDNS_676223594162')
R(m4_m3_cdns_676223594162, L33_0, [(-0.09,-0.09,0.09,0.09)])
R(m4_m3_cdns_676223594162, L34_0, [(-0.115,-0.115,0.115,0.115)])
R(m4_m3_cdns_676223594162, L53_0, [(-0.05,-0.05,0.05,0.05)])

sky130_hilas_alice_ampde = lib.new_cell('sky130_hilas_Alice_AmpDetect')
R(sky130_hilas_alice_ampde, L3_0, [(0.375,0,1.315,0.73), (8.23,0,13.22,0.77), (0.375,6.69,1.315,7.585), (8.23,6.815,14.83,7.585)])
R(sky130_hilas_alice_ampde, L18_0, [(0.375,0,1.315,0.73), (8.23,0,13.22,0.77), (0.375,6.69,1.315,7.585), (8.23,6.815,14.83,7.585)])
R(sky130_hilas_alice_ampde, L25_0, [(6.48,1.175,6.49,1.565), (0.21,6.935,11.33,7.585)])
R(sky130_hilas_alice_ampde, L31_0, [(17.6,3.415,17.615,3.43), (13.905,3.5,14.105,3.705)])
A(sky130_hilas_alice_ampde, L32_0, 18.26, 0, 0.18, 7.585, 4, 1, 0.38, 0)
R(sky130_hilas_alice_ampde, L32_0, [(0.72,0,1.02,0.76), (2.83,0,3.06,0.76), (4.05,0,4.28,0.76), (10.57,0,10.76,0.77), (11.01,0,11.29,0.76), (16.055,0,16.355,1), (16.685,0,16.955,1.01), (12.125,0.785,12.305,2.965), (16.685,6.535,16.955,7.585), (16.055,6.545,16.355,7.585), (0.72,6.815,1.02,7.585), (2.83,6.815,3.06,7.585), (4.05,6.815,4.28,7.585), (11.01,6.915,11.29,7.585), (10.57,6.945,10.76,7.585)])
R(sky130_hilas_alice_ampde, L33_0, [(18.04,0.67,19.035,0.85), (12.1,0.785,12.34,0.795), (12.14,0.785,12.53,0.795), (18.805,1.195,19.65,1.375), (2.08,2.755,12.305,2.965), (2.08,2.965,2.28,5.115), (19.4,3.265,19.65,3.445), (13.75,3.435,14.29,3.76), (17.92,5.075,19.655,5.295), (0,5.115,2.28,5.375), (17.85,6.065,18.035,6.315), (17.935,6.065,19.65,6.245), (19.4,6.935,19.65,7.075)])
R(sky130_hilas_alice_ampde, L35_0, [(18.805,0.645,19.035,1.4)])
R(sky130_hilas_alice_ampde, L132_0, [(16.75,7.345,16.895,7.445), (16.12,7.36,16.29,7.455), (4.1,7.455,4.25,7.565), (10.605,7.46,10.735,7.56), (11.09,7.46,11.24,7.56)])
R(sky130_hilas_alice_ampde, L133_0, [(0.015,1.315,0.065,1.365), (19.575,5.095,19.655,5.27), (0.035,5.165,0.155,5.26), (0.02,6.175,0.095,6.25)])
sky130_hilas_alice_ampde.add(gdstk.Reference(sky130_hilas_ampdetect01, (0,0.6)))
sky130_hilas_alice_ampde.add(gdstk.Reference(m3_m2_cdns_676223594160, (12.215,0.895)))
sky130_hilas_alice_ampde.add(gdstk.Reference(m3_m2_cdns_676223594160, (12.215,2.875)))
sky130_hilas_alice_ampde.add(gdstk.Reference(m5_m4_cdns_676223594161, (18.92,0.76)))
sky130_hilas_alice_ampde.add(gdstk.Reference(m5_m4_cdns_676223594161, (18.92,1.285)))
sky130_hilas_alice_ampde.add(gdstk.Reference(m4_m3_cdns_676223594162, (18.92,0.76)))
sky130_hilas_alice_ampde.add(gdstk.Reference(m4_m3_cdns_676223594162, (18.92,1.285)))
sky130_hilas_alice_ampde.add(gdstk.Label('vpwr', (16.825,7.39), layer=132, texttype=0))
sky130_hilas_alice_ampde.add(gdstk.Label('vgnd', (16.195,7.425), layer=132, texttype=0))
sky130_hilas_alice_ampde.add(gdstk.Label('vinj', (11.145,7.51), layer=132, texttype=0))
sky130_hilas_alice_ampde.add(gdstk.Label('colsel', (10.65,7.505), layer=132, texttype=0))
sky130_hilas_alice_ampde.add(gdstk.Label('gate', (4.18,7.52), layer=132, texttype=0))
sky130_hilas_alice_ampde.add(gdstk.Label('ampdet_out', (19.595,5.215), layer=133, texttype=0))
sky130_hilas_alice_ampde.add(gdstk.Label('drain_two', (0.05,1.35), layer=133, texttype=0))
sky130_hilas_alice_ampde.add(gdstk.Label('vin', (0.115,5.22), layer=133, texttype=0))
sky130_hilas_alice_ampde.add(gdstk.Label('drain_one', (0.055,6.24), layer=133, texttype=0))

lib.write_gds('sky130_hilas_Alice_AmpDetect.gds')
